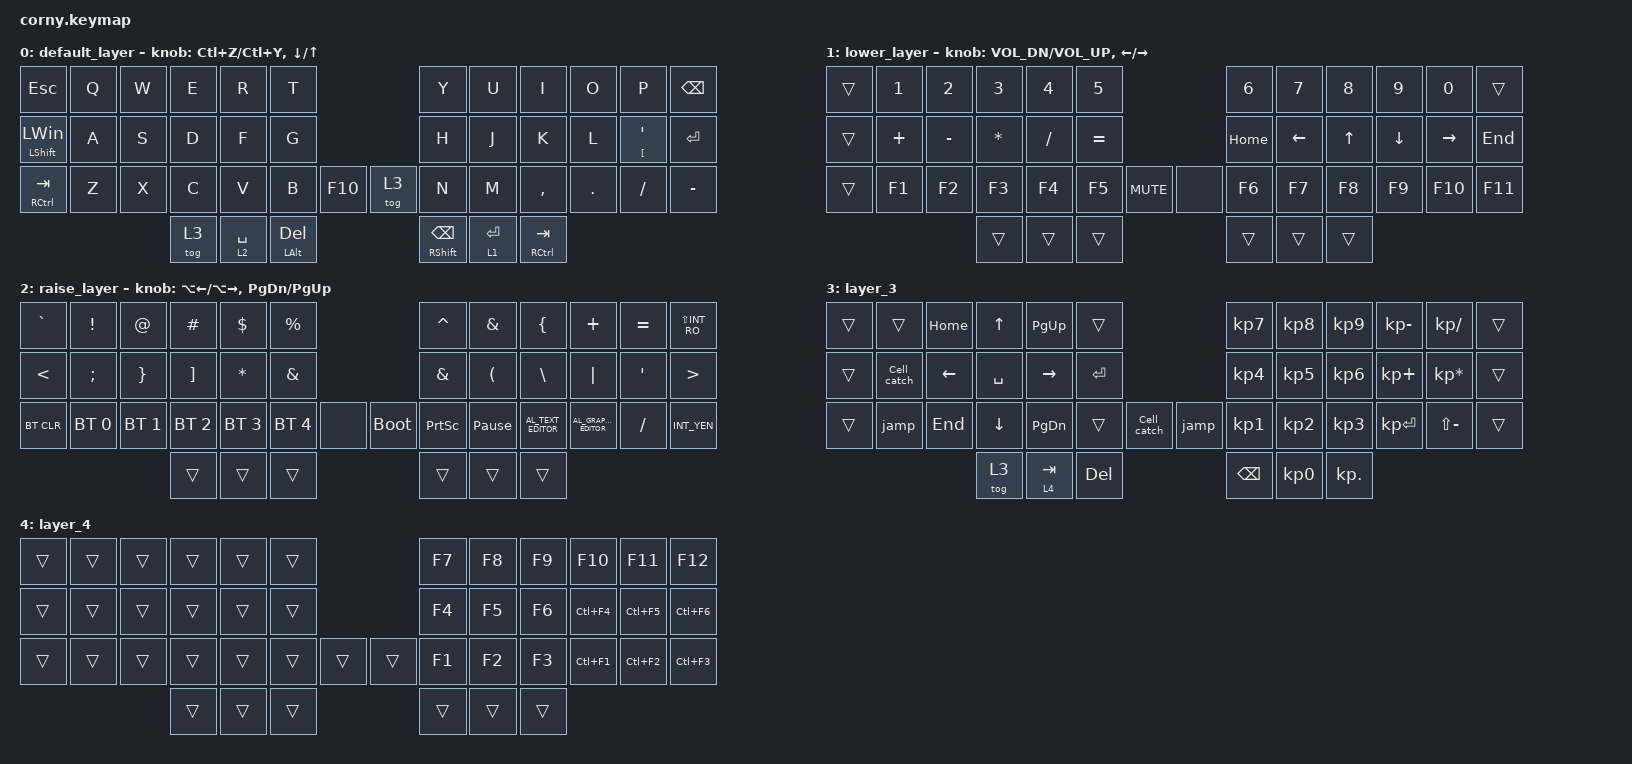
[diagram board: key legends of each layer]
#include <behaviors.dtsi>
#include <dt-bindings/zmk/bt.h>
#include <dt-bindings/zmk/keys.h>

&mt { flavor = "tap-preferred"; };

/ {
    combos {
        compatible = "zmk,combos";

        to-tenkey {
            bindings = <&tog 3>;
            key-positions = <38 39 40>;
        };
    };

    macros {
        pa: pa {
            compatible = "zmk,behavior-macro";
            #binding-cells = <0>;
            bindings = <&kp P &kp A &kp S &kp W &kp A &kp R &kp D>;
            label = "PA";
        };

        login: login {
            compatible = "zmk,behavior-macro";
            #binding-cells = <0>;
            bindings = <&kp L &kp O &kp G &kp I &kp N &kp I &kp D>;
            label = "LOGIN";
        };

        mail: mail {
            compatible = "zmk,behavior-macro";
            #binding-cells = <0>;
            bindings = <&kp M &kp A &kp I &kp L &kp AT &kp M &kp A &kp I &kp L &kp DOT &kp J &kp P>;
            label = "MAIL";
        };

        jamp: jamp {
            compatible = "zmk,behavior-macro";
            #binding-cells = <0>;
            bindings = <&kp LS(LC(J))>;
            label = "JAMP";
        };

        Cell_catch: Cell_catch {
            compatible = "zmk,behavior-macro";
            #binding-cells = <0>;
            bindings = <&kp LS(LC(O))>;
            label = "CELL_CATCH";
        };
    };

    keymap {
        compatible = "zmk,keymap";

        default_layer {
            // -------------------------------------------------------------------------------------------------
            // |  TAB |  Q  |  W  |  E  |  R  |  T  |                    |  Y  |  U   |  I  |  O  |  P  | BKSP |
            // | CTRL |  A  |  S  |  D  |  F  |  G  |                    |  H  |  J   |  K  |  L  |  ;  |  '   |
            // | SHFT |  Z  |  X  |  C  |  V  |  B  |  MUTE  |  |        |  N  |  M   |  ,  |  .  |  /  | ESC  |
            //                    | GUI | LWR | SPC |                    | ENT | RSE  | ALT |

            bindings = <
&kp ESC                  &kp Q  &kp W  &kp E   &kp R        &kp T                                 &kp Y                      &kp U        &kp I          &kp O    &kp P                          &kp BACKSPACE
&mt LEFT_SHIFT LEFT_WIN  &kp A  &kp S  &kp D   &kp F        &kp G                                 &kp H                      &kp J        &kp K          &kp L    &mt LEFT_BRACKET SINGLE_QUOTE  &kp ENTER
&mt RCTRL TAB            &kp Z  &kp X  &kp C   &kp V        &kp B                &kp F10  &tog 3  &kp N                      &kp M        &kp COMMA      &kp DOT  &kp SLASH                      &kp MINUS
                                       &tog 3  &lt 2 SPACE  &mt LEFT_ALT DELETE                   &mt RIGHT_SHIFT BACKSPACE  &lt 1 ENTER  &mt RCTRL TAB
            >;

            sensor-bindings =
                <&inc_dec_kp LC(Z) LC(Y)>,
                <&inc_dec_kp DOWN_ARROW UP_ARROW>;
        };

        lower_layer {
            // ------------------------------------------------------------------------------------------------
            // |  TAB |  1  |  2  |  3  |  4  |  5  |                    |  6  |  7  |  8  |  9  |  0  | BKSP |
            // | BTCLR| BT1 | BT2 | BT3 | BT4 | BT5 |                    | LFT | DWN |  UP | RGT |     |  F12 |
            // | SHFT | F1  | F2  | F3  | F4  | F5  |  boot  |  |        |  F6 | F7  | F8  | F9  | F10 |  F11 |
            //                    | GUI |     | SPC |                    | ENT |     | ALT |

            bindings = <
&trans  &kp N1    &kp N2     &kp N3        &kp N4     &kp N5                        &kp N6    &kp N7    &kp N8  &kp N9    &kp N0     &trans
&trans  &kp PLUS  &kp MINUS  &kp ASTERISK  &kp SLASH  &kp EQUAL                     &kp HOME  &kp LEFT  &kp UP  &kp DOWN  &kp RIGHT  &kp END
&trans  &kp F1    &kp F2     &kp F3        &kp F4     &kp F5     &kp K_MUTE  &none  &kp F6    &kp F7    &kp F8  &kp F9    &kp F10    &kp F11
                             &trans        &trans     &trans                        &trans    &trans    &trans
            >;

            sensor-bindings =
                <&inc_dec_kp C_VOL_DN C_VOL_UP>,
                <&inc_dec_kp LEFT_ARROW RIGHT_ARROW>;
        };

        raise_layer {
            // ------------------------------------------------------------------------------------------------
            // |  TAB |  !  |  @  |  #  |  $  |  %  |                    |  ^  |  &  |  *  |  (  |  )  | BKSP |
            // | CTRL |     |     |     |     |     |                    |  -  |  =  |  [  |  ]  |  \  |  `   |
            // | SHFT |     |     |     |     |     |        |  |  boot  |  _  |  +  |  {  |  }  | "|" |  ~   |
            //                    | GUI |     | SPC |                    | ENT |     | ALT |

            bindings = <
&kp GRAVE      &kp EXCL       &kp AT           &kp HASH           &kp DLLR      &kp PRCNT                          &kp CARET        &kp AMPS              &kp LEFT_BRACE        &kp PLUS                  &kp EQUAL         &kp LS(INT_RO)
&kp LESS_THAN  &kp SEMICOLON  &kp RIGHT_BRACE  &kp RIGHT_BRACKET  &kp ASTERISK  &kp AMPERSAND                      &kp AMPERSAND    &kp LEFT_PARENTHESIS  &kp BACKSLASH         &kp PIPE                  &kp SINGLE_QUOTE  &kp GREATER_THAN
&bt BT_CLR     &bt BT_SEL 0   &bt BT_SEL 1     &bt BT_SEL 2       &bt BT_SEL 3  &bt BT_SEL 4   &none  &bootloader  &kp PRINTSCREEN  &kp PAUSE_BREAK       &kp C_AL_TEXT_EDITOR  &kp C_AL_GRAPHICS_EDITOR  &kp SLASH         &kp INT_YEN
                                               &trans             &trans        &trans                             &trans           &trans                &trans
            >;

            sensor-bindings =
                <&inc_dec_kp LA(LEFT_ARROW) LA(RIGHT_ARROW)>,
                <&inc_dec_kp PAGE_DOWN PAGE_UP>;
        };

        layer_3 {
            bindings = <
&trans  &trans       &kp HOME  &kp UP     &kp PAGE_UP    &trans                          &kp KP_NUMBER_7  &kp KP_NUMBER_8  &kp KP_NUMBER_9  &kp KP_SUBTRACT  &kp KP_DIVIDE    &trans
&trans  &Cell_catch  &kp LEFT  &kp SPACE  &kp RIGHT      &kp ENTER                       &kp KP_NUMBER_4  &kp KP_NUMBER_5  &kp KP_NUMBER_6  &kp KP_PLUS      &kp KP_ASTERISK  &trans
&trans  &jamp        &kp END   &kp DOWN   &kp PAGE_DOWN  &trans      &Cell_catch  &jamp  &kp KP_NUMBER_1  &kp KP_NUMBER_2  &kp KP_NUMBER_3  &kp KP_ENTER     &kp LS(MINUS)    &trans
                               &tog 3     &lt 4 TAB      &kp DELETE                      &kp BACKSPACE    &kp KP_NUMBER_0  &kp KP_DOT
            >;
        };

        layer_4 {
            bindings = <
&trans  &trans  &trans  &trans  &trans  &trans                  &kp F7  &kp F8  &kp F9  &kp F10     &kp F11     &kp F12
&trans  &trans  &trans  &trans  &trans  &trans                  &kp F4  &kp F5  &kp F6  &kp LC(F4)  &kp LC(F5)  &kp LC(F6)
&trans  &trans  &trans  &trans  &trans  &trans  &trans  &trans  &kp F1  &kp F2  &kp F3  &kp LC(F1)  &kp LC(F2)  &kp LC(F3)
                        &trans  &trans  &trans                  &trans  &trans  &trans
            >;
        };
    };
};
